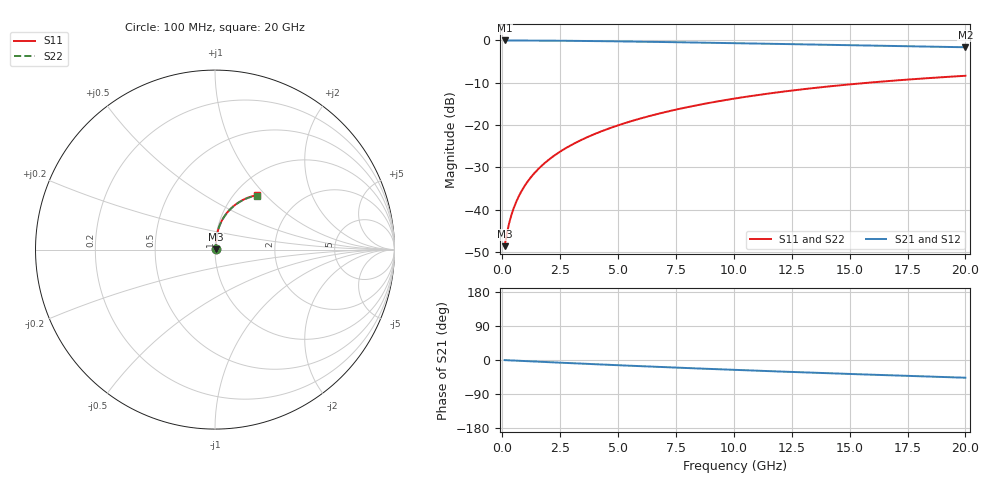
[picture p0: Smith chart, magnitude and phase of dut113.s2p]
! Touchstone file exported from HFSS 2024.1.0
!  File:  C:/UserFiles/LocalFiles/RDL_TSV_Batchsim/temp_RDL_top_113_1778683697.aedt
!  Generated:  10:50:25 PM May 13, 2026
!  Design:  RDL_top
!  Project:  temp_RDL_top_113_1778683697
!  Setup:  Setup1
!  Solution:  Sweep
! Variables:
!  dtsv = 10.80580581um
!  hbump = 3um
!  htsv = 99.24um
!  ldown = 100um
!  lrdl = 686.46um
!  p = 40
!  p1 = 48.14um
!  rhole = 1um
!  t = 450um
!  tdown = 3.915915916um
!  trdl = 3.9um
!  wdown = 15.38538539um
!  wrdl = 21.86um
# GHz S MA R 50.000000
! Terminal data exported
! Port[1] = Box2_T1
! Port[2] = Box2_T2
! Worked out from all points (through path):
!   200 points, 100 MHz to 20 GHz, reference 50 ohm
!   highest |S21| = -0.03 dB at 100 MHz (marker M1); lowest = -1.6 dB at 20 GHz (marker M2)
!   group delay of S21, straight-line fit = 6.44 ps
!   lowest |S11| = -48.6 dB at 100 MHz (marker M3), VSWR 1.01, Z = 50.3 + j0.217 ohm
!   |S11| at or under -10 dB: start of sweep to 15.81 GHz
!   |S22| runs from -48.6 to -8.4 dB; largest |S21 - S12| = 2.4e-14
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0.1  0.003726 35.4  0.997 -0.3  0.997 -0.3  0.003726 35.4
! Gamma 0 0 0 0
! Port Impedance 50 0 50 0
0.2  0.005299 52.6  0.9968 -0.6  0.9968 -0.6  0.005299 52.6
0.3  0.007037 61.1  0.9965 -0.9  0.9965 -0.9  0.007037 61.1
0.4  0.008806 66.3  0.9963 -1.2  0.9963 -1.2  0.008807 66.3
0.5  0.01059 69.8  0.9961 -1.4  0.9961 -1.4  0.01059 69.8
0.6  0.0124 72.4  0.996 -1.7  0.996 -1.7  0.0124 72.4
0.8  0.01607 75.9  0.9956 -2.3  0.9956 -2.3  0.01607 75.9
1.1  0.02167 79.0  0.9949 -3.1  0.9949 -3.1  0.02167 78.9
1.3  0.02545 80.2  0.9944 -3.7  0.9944 -3.7  0.02545 80.2
1.6  0.03117 81.5  0.9934 -4.6  0.9934 -4.6  0.03117 81.4
2.1  0.04083 82.6  0.9915 -6.0  0.9915 -6.0  0.04083 82.5
2.7  0.0526 83.1  0.9886 -7.6  0.9886 -7.6  0.05258 83.0
3.5  0.06857 83.0  0.9838 -9.8  0.9838 -9.8  0.06854 82.9
4.2  0.08281 82.6  0.979 -11.7  0.979 -11.7  0.08276 82.5
5  0.09935 81.8  0.9728 -13.8  0.9728 -13.8  0.09928 81.7
6.8  0.1373 79.2  0.9572 -18.3  0.9572 -18.3  0.1372 79.0
8.4  0.1714 76.3  0.9421 -22.2  0.9421 -22.2  0.1712 76.1
10.1  0.2071 72.8  0.9255 -26.2  0.9255 -26.2  0.2068 72.7
11.7  0.2397 69.5  0.9096 -29.8  0.9096 -29.8  0.2393 69.4
13.4  0.2728 65.9  0.8926 -33.5  0.8926 -33.5  0.2722 65.7
16.7  0.3313 59.0  0.8601 -40.3  0.8601 -40.3  0.3306 58.8
20  0.3818 52.5  0.8286 -46.7  0.8286 -46.7  0.3809 52.3
